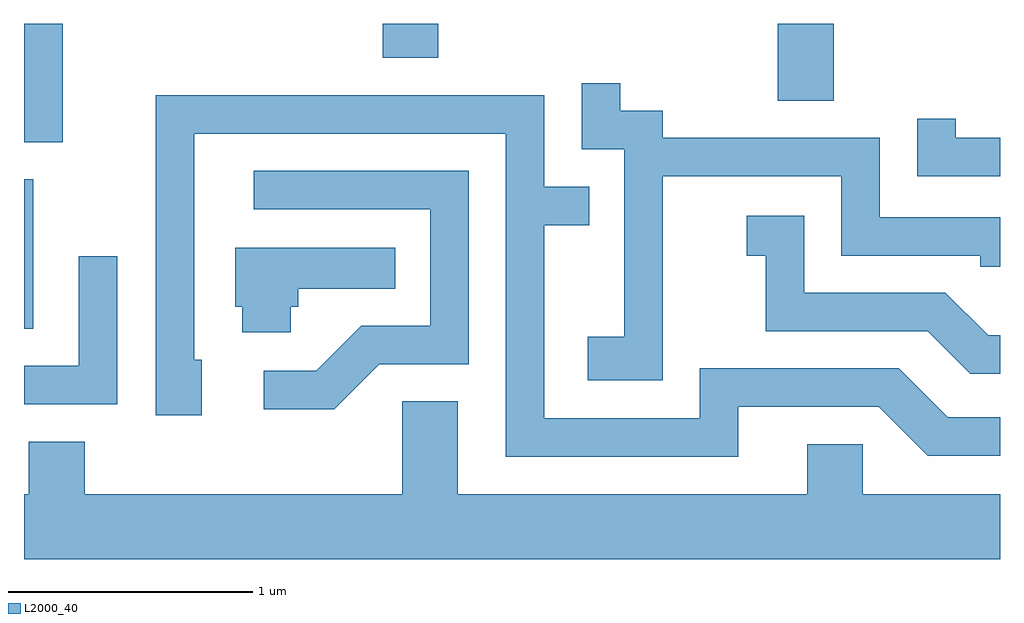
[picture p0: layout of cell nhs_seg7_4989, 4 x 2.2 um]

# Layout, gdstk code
import gdstk
lib = gdstk.Library(unit=1e-6, precision=1e-09)
def R(c, l, rs):  # rectangles x0, y0, x1, y1
    for r in rs: c.add(gdstk.rectangle(r[:2], r[2:], *l))
def P(c, l, *ps):  # polygons
    for p in ps: c.add(gdstk.Polygon(p, *l))
L2000_40 = (2000, 40)

nhs_seg7_4989 = lib.new_cell('nhs_seg7_4989')
R(nhs_seg7_4989, L2000_40, [(337.611,1753.001,337.649,1753.614), (337.611,1753.766,337.769,1754.252), (340.701,1753.936,340.929,1754.252), (339.081,1754.111,339.309,1754.252)])
P(nhs_seg7_4989, L2000_40, [(340.229,1753.626),(340.961,1753.626),(340.961,1753.301),(341.531,1753.301),(341.531,1753.256),(341.611,1753.256),(341.611,1753.459),(341.119,1753.459),(341.119,1753.784),(340.229,1753.784),(340.229,1753.894),(340.054,1753.894),(340.054,1754.008),(339.896,1754.008),(339.896,1753.736),(340.071,1753.736),(340.071,1752.969),(339.921,1752.969),(339.921,1752.791),(340.229,1752.791)],
  [(340.539,1752.681),(341.114,1752.681),(341.314,1752.481),(341.611,1752.481),(341.611,1752.639),(341.397,1752.639),(341.197,1752.839),(340.381,1752.839),(340.381,1752.634),(339.744,1752.634),(339.744,1753.426),(339.928,1753.426),(339.928,1753.584),(339.744,1753.584),(339.744,1753.959),(338.151,1753.959),(338.151,1752.646),(338.339,1752.646),(338.339,1752.874),(338.309,1752.874),(338.309,1753.801),(339.586,1753.801),(339.586,1752.476),(340.539,1752.476)],
  [(341.611,1753.784),(341.429,1753.784),(341.429,1753.863),(341.271,1753.863),(341.271,1753.626),(341.611,1753.626)],
  [(339.067,1752.856),(339.434,1752.856),(339.434,1753.649),(338.553,1753.649),(338.553,1753.491),(339.276,1753.491),(339.276,1753.014),(338.994,1753.014),(338.809,1752.829),(338.593,1752.829),(338.593,1752.671),(338.882,1752.671)],
  [(341.611,1752.974),(341.562,1752.974),(341.387,1753.149),(340.809,1753.149),(340.809,1753.464),(340.573,1753.464),(340.573,1753.301),(340.651,1753.301),(340.651,1752.991),(341.314,1752.991),(341.489,1752.816),(341.611,1752.816)],
  [(338.704,1753.091),(338.734,1753.091),(338.734,1753.166),(339.133,1753.166),(339.133,1753.334),(338.476,1753.334),(338.476,1753.091),(338.506,1753.091),(338.506,1752.986),(338.704,1752.986)],
  [(337.994,1753.298),(337.836,1753.298),(337.836,1752.849),(337.611,1752.849),(337.611,1752.691),(337.994,1752.691)],
  [(341.611,1752.324),(341.049,1752.324),(341.049,1752.529),(340.821,1752.529),(340.821,1752.324),(339.389,1752.324),(339.389,1752.704),(339.161,1752.704),(339.161,1752.324),(337.859,1752.324),(337.859,1752.539),(337.631,1752.539),(337.631,1752.324),(337.611,1752.324),(337.611,1752.056),(341.611,1752.056)])

lib.write_gds('nhs_seg7_4989.gds')
